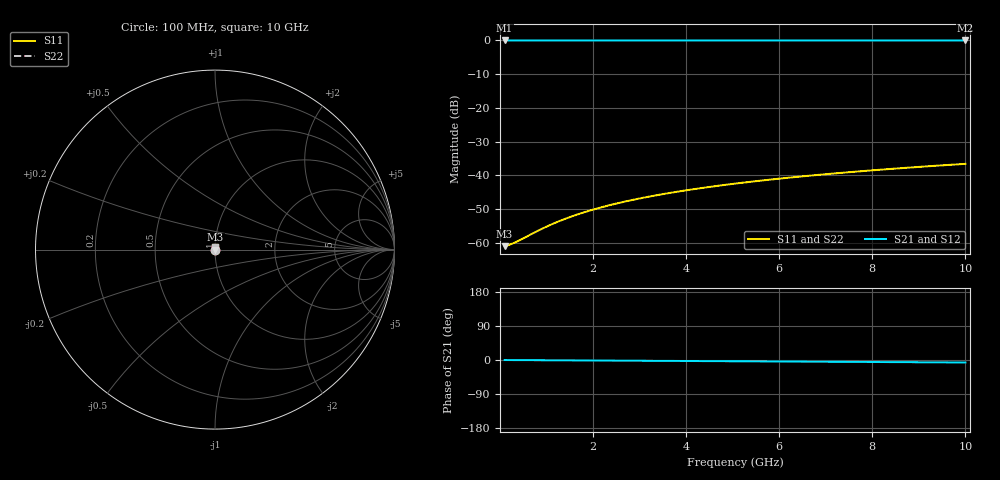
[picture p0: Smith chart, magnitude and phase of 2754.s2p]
# Hz S RI R 50.00
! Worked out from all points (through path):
!   100 points, 100 MHz to 10 GHz, reference 50 ohm
!   highest |S21| = -0.01 dB at 100 MHz (marker M1); lowest = 0.0 dB at 10 GHz (marker M2)
!   lowest |S11| = -61.0 dB at 100 MHz (marker M3), VSWR 1.00, Z = 50.1 + j0.0148 ohm
!   |S11| at or under -10 dB: start of sweep to end of sweep
!   |S22| runs from -61.0 to -36.6 dB; largest |S21 - S12| = 0
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1e8  0.00088 0.000147  0.9991 -0.00115  0.9991 -0.00115  0.00088 0.000147
2e8  0.000886 0.000295  0.9991 -0.0023  0.9991 -0.0023  0.000886 0.000295
3e8  0.000891 0.000442  0.9991 -0.00344  0.9991 -0.00344  0.000891 0.000442
4e8  0.000895 0.00059  0.9991 -0.00459  0.9991 -0.00459  0.000895 0.00059
9e8  0.000917 0.00133  0.999 -0.0103  0.999 -0.0103  0.000917 0.00133
1.2e9  0.000932 0.00177  0.999 -0.0138  0.999 -0.0138  0.000932 0.00177
1.5e9  0.000949 0.00221  0.9989 -0.0172  0.9989 -0.0172  0.000949 0.00221
1.8e9  0.000969 0.00265  0.9989 -0.0207  0.9989 -0.0207  0.000969 0.00265
2.1e9  0.000991 0.00309  0.9988 -0.0241  0.9988 -0.0241  0.000991 0.00309
2.5e9  0.00103 0.00368  0.9986 -0.0287  0.9986 -0.0287  0.00103 0.00368
2.9e9  0.00106 0.00427  0.9985 -0.0333  0.9985 -0.0333  0.00106 0.00427
3.4e9  0.00112 0.005  0.9983 -0.039  0.9983 -0.039  0.00112 0.005
3.8e9  0.00117 0.00559  0.9981 -0.0436  0.9981 -0.0436  0.00117 0.00559
4.2e9  0.00123 0.00617  0.9978 -0.0482  0.9978 -0.0482  0.00123 0.00617
4.6e9  0.00129 0.00676  0.9976 -0.0528  0.9976 -0.0528  0.00129 0.00676
5.1e9  0.00138 0.00749  0.9973 -0.0585  0.9973 -0.0585  0.00138 0.00749
5.9e9  0.00153 0.00866  0.9967 -0.0677  0.9967 -0.0677  0.00153 0.00866
6.7e9  0.0017 0.00982  0.996 -0.0769  0.996 -0.0769  0.0017 0.00982
7.5e9  0.0019 0.011  0.9952 -0.086  0.9952 -0.086  0.0019 0.011
8.4e9  0.00215 0.0123  0.9942 -0.0964  0.9942 -0.0964  0.00215 0.0123
9.2e9  0.00239 0.0134  0.9933 -0.1055  0.9933 -0.1055  0.00239 0.0134
1e10  0.00265 0.0146  0.9922 -0.1147  0.9922 -0.1147  0.00265 0.0146
